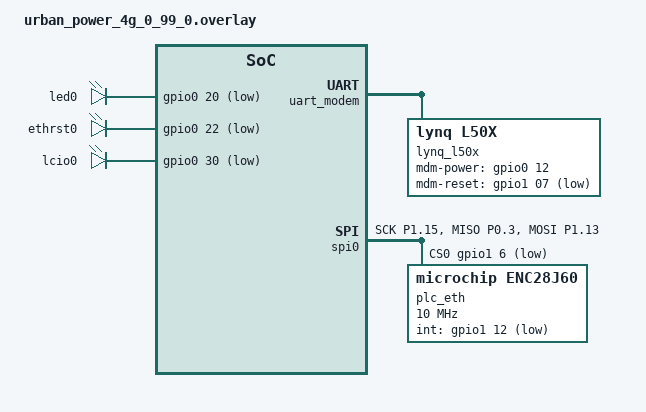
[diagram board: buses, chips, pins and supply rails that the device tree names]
/ {
	leds {
		compatible = "gpio-leds";
		led0: led_0 {
			gpios = < &gpio0 20 GPIO_ACTIVE_LOW>;
		};
		ethrst0: ethrst_0 {
			gpios = < &gpio0 22 GPIO_ACTIVE_LOW>;
		};
		lcio0: lcio_0 {
			gpios = < &gpio0 30 GPIO_ACTIVE_LOW>;
		};
	};

};

&uart_modem {
	/* Lynq l50x */
	lynq_l50x: lynq_l50x {
		compatible = "lynq,l50x";
		mdm-power-gpios = <&gpio0 12 GPIO_ACTIVE_HIGH>;
		mdm-reset-gpios = <&gpio1 07 GPIO_ACTIVE_LOW>; //incorrect
		status = "okay";
	};
};

ethernet_spi: &spi0{
	compatible = "nordic,nrf-spim";
	
	pinctrl-0 = <&spi0_default>;
	pinctrl-1 = <&spi0_sleep>;
	pinctrl-names = "default", "sleep";
	cs-gpios = <&gpio1 6 (GPIO_ACTIVE_LOW | GPIO_PULL_UP)>;

	plc_eth: plc_eth@0 {
		compatible = "microchip,enc28j60";
		reg = <0x0>;
		local-mac-address = [8F 3C 52 71 62 53];
		/* Errata B7/1 specifies min 8Mhz, 20MHz max according to RM */
		spi-max-frequency = <10000000>;
		int-gpios = <&gpio1 12 GPIO_ACTIVE_LOW>;	/* INT */
	};
};

&pinctrl {
	qspi_default: qspi_default {
		group1 {
			psels = <NRF_PSEL(QSPI_SCK, 0, 4)>,
				<NRF_PSEL(QSPI_IO0, 0, 26)>,
				<NRF_PSEL(QSPI_IO1, 0, 6)>,
				<NRF_PSEL(QSPI_IO2, 0, 27)>,
				<NRF_PSEL(QSPI_IO3, 1, 9)>,
				<NRF_PSEL(QSPI_CSN, 0, 8)>;
		};
	};

	qspi_sleep: qspi_sleep {
		group1 {
			psels = <NRF_PSEL(QSPI_SCK, 0, 4)>,
				<NRF_PSEL(QSPI_IO0, 0, 26)>,
				<NRF_PSEL(QSPI_IO1, 0, 6)>,
				<NRF_PSEL(QSPI_IO2, 0, 27)>,
				<NRF_PSEL(QSPI_IO3, 1, 9)>,
				<NRF_PSEL(QSPI_CSN, 0, 8)>;
			low-power-enable;
		};
	};

	uart_modem_default: uart_modem_default {
		group1 {
			psels = <NRF_PSEL(UART_RX, 1, 8)>;
			bias-pull-up;
		};
		group2 {
			psels = <NRF_PSEL(UART_TX, 0, 11)>;
		};
	};

	uart_modem_sleep: uart_modem_sleep {
		group1 {
			psels = <NRF_PSEL(UART_RX, 1, 8)>,
				<NRF_PSEL(UART_TX, 0, 11)>;
			low-power-enable;
		};
	};

	uart_modbus_default: uart_modbus_default {
		group1 {
			psels = <NRF_PSEL(UART_RX, 1, 4)>;
			bias-pull-up;
		};
		group2 {
			psels = <NRF_PSEL(UART_TX, 1, 2)>;
		};
	};

	uart_modbus_sleep: uart_modbus_sleep {
		group1 {
			psels = <NRF_PSEL(UART_RX, 1, 4)>,
				<NRF_PSEL(UART_TX, 1, 2)>;
			low-power-enable;
		};
	};

	spi0_default: spi0_default {
		group1 {
			psels = <NRF_PSEL(SPIM_SCK, 1, 15)>,
					  <NRF_PSEL(SPIM_MISO, 0, 3)>,
					  <NRF_PSEL(SPIM_MOSI, 1, 13)>;
		};
	};
	
	spi0_sleep: spi0_sleep {
		group1 {
			psels = <NRF_PSEL(SPIM_SCK, 1, 15)>,
					  <NRF_PSEL(SPIM_MISO, 0, 3)>,
					  <NRF_PSEL(SPIM_MOSI, 1, 13)>;
			low-power-enable;
		};
	};
};

